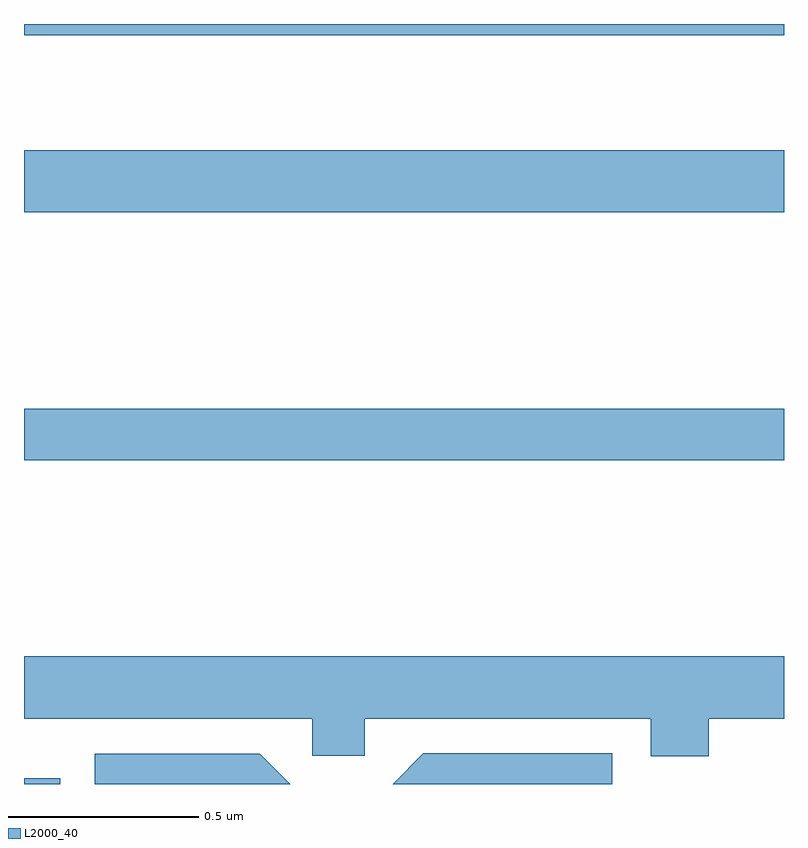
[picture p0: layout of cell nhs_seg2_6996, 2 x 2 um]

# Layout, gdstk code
import gdstk
lib = gdstk.Library(unit=1e-6, precision=1e-09)
def R(c, l, rs):  # rectangles x0, y0, x1, y1
    for r in rs: c.add(gdstk.rectangle(r[:2], r[2:], *l))
def P(c, l, *ps):  # polygons
    for p in ps: c.add(gdstk.Polygon(p, *l))
L2000_40 = (2000, 40)

nhs_seg2_6996 = lib.new_cell('nhs_seg2_6996')
R(nhs_seg2_6996, L2000_40, [(198,644.8,198.095,644.815), (198,645.652,200,645.788), (198,646.304,200,646.468), (198,646.77,200,646.8)])
P(nhs_seg2_6996, L2000_40, [(199.802,644.972),(200,644.972),(200,645.136),(198,645.136),(198,644.972),(198.759,644.972),(198.759,644.874),(198.897,644.874),(198.897,644.972),(199.649,644.972),(199.649,644.873),(199.802,644.873)],
  [(199.548,644.881),(199.051,644.881),(198.97,644.8),(199.548,644.8)],
  [(198.621,644.88),(198.186,644.88),(198.186,644.8),(198.701,644.8)])

lib.write_gds('nhs_seg2_6996.gds')
